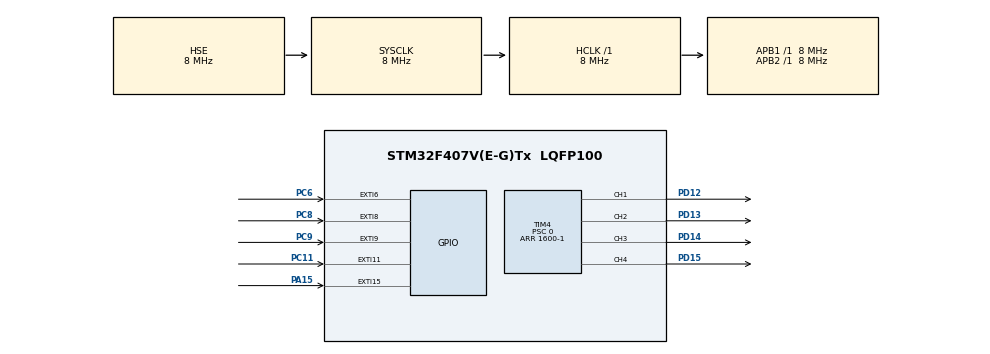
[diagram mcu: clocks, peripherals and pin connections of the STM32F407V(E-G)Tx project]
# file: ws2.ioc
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Mcu.Family=STM32F4
Mcu.Name=STM32F407V(E-G)Tx
Mcu.Package=LQFP100
NVIC.EXTI15_10_IRQn=true\:0\:0\:false\:false\:true\:true\:true\:true
NVIC.EXTI9_5_IRQn=true\:0\:0\:false\:false\:true\:true\:true\:true
NVIC.PriorityGroup=NVIC_PRIORITYGROUP_4
PA15.Signal=GPXTI15
PC11.Signal=GPXTI11
PC6.Signal=GPXTI6
PC8.Signal=GPXTI8
PC9.Signal=GPXTI9
PD12.GPIO_Speed=GPIO_SPEED_FREQ_VERY_HIGH
PD12.Signal=S_TIM4_CH1
PD13.Signal=S_TIM4_CH2
PD14.Signal=S_TIM4_CH3
PD15.Signal=S_TIM4_CH4
PH0-OSC_IN.Mode=HSE-External-Oscillator
PH0-OSC_IN.Signal=RCC_OSC_IN
PH1-OSC_OUT.Mode=HSE-External-Oscillator
PH1-OSC_OUT.Signal=RCC_OSC_OUT
ProjectManager.HeapSize=0x200
ProjectManager.StackSize=0x400
ProjectManager.TargetToolchain=STM32CubeIDE
RCC.48MHZClocksFreq_Value=25000000
RCC.AHBFreq_Value=8000000
RCC.APB1Freq_Value=8000000
RCC.APB1TimFreq_Value=8000000
RCC.APB2Freq_Value=8000000
RCC.APB2TimFreq_Value=8000000
RCC.CortexFreq_Value=8000000
RCC.HCLKFreq_Value=8000000
RCC.HSE_VALUE=8000000
RCC.HSI_VALUE=16000000
RCC.LSE_VALUE=32768
RCC.PLLM=4
RCC.PLLN=50
RCC.PLLP=RCC_PLLP_DIV4
RCC.PLLSourceVirtual=RCC_PLLSOURCE_HSE
RCC.SYSCLKFreq_VALUE=8000000
RCC.SYSCLKSource=RCC_SYSCLKSOURCE_HSE
RCC.VCOOutputFreq_Value=100000000
SH.S_TIM4_CH1.0=TIM4_CH1,PWM Generation1 CH1
SH.S_TIM4_CH2.0=TIM4_CH2,PWM Generation2 CH2
SH.S_TIM4_CH3.0=TIM4_CH3,PWM Generation3 CH3
SH.S_TIM4_CH4.0=TIM4_CH4,PWM Generation4 CH4
TIM4.AutoReloadPreload=TIM_AUTORELOAD_PRELOAD_ENABLE
TIM4.Channel-PWM\ Generation1\ CH1=TIM_CHANNEL_1
TIM4.Channel-PWM\ Generation2\ CH2=TIM_CHANNEL_2
TIM4.Channel-PWM\ Generation3\ CH3=TIM_CHANNEL_3
TIM4.Channel-PWM\ Generation4\ CH4=TIM_CHANNEL_4
TIM4.OC1Preload_PWM=DISABLE
TIM4.OCFastMode_PWM-PWM\ Generation1\ CH1=TIM_OCFAST_DISABLE
TIM4.Period=1600-1
TIM4.Prescaler=0
TIM4.Pulse-PWM\ Generation1\ CH1=800
TIM4.Pulse-PWM\ Generation2\ CH2=0
TIM4.Pulse-PWM\ Generation3\ CH3=0
TIM4.Pulse-PWM\ Generation4\ CH4=0
VP_TIM4_VS_ClockSourceINT.Mode=Internal
board=custom

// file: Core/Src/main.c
/* USER CODE BEGIN Header */
/**
  ******************************************************************************
  * @file           : main.c
  * @brief          : Main program body
  ******************************************************************************
  * @attention
  *
  * Copyright (c) 2023 STMicroelectronics.
  * All rights reserved.
  *
  * This software is licensed under terms that can be found in the LICENSE file
  * in the root directory of this software component.
  * If no LICENSE file comes with this software, it is provided AS-IS.
  *
  ******************************************************************************
  */
/* USER CODE END Header */
#include "main.h"

TIM_HandleTypeDef htim4;

void SystemClock_Config(void);
static void MX_GPIO_Init(void);
static void MX_TIM4_Init(void);

/* USER CODE BEGIN 0 */

static uint32_t curr_freq = 5000;
static uint8_t curr_duty_percent = 50;
static enum PWM_Mode mode = OUTPUT_GREEN;

/* USER CODE END 0 */

int main(void)
{

  /* MCU Configuration--------------------------------------------------------*/

  /* Reset of all peripherals, Initializes the Flash interface and the Systick. */
  HAL_Init();

  /* Configure the system clock */
  SystemClock_Config();

  /* Initialize all configured peripherals */
  MX_GPIO_Init();
  MX_TIM4_Init();
  /* USER CODE BEGIN 2 */

  HAL_TIM_PWM_Start(&htim4, TIM_CHANNEL_1);
  HAL_TIM_PWM_Start(&htim4, TIM_CHANNEL_2);
  HAL_TIM_PWM_Start(&htim4, TIM_CHANNEL_3);
  HAL_TIM_PWM_Start(&htim4, TIM_CHANNEL_4);

  /* USER CODE END 2 */

  /* Infinite loop */
  while (1)
  {

  }
}

void SystemClock_Config(void)
{
  RCC_OscInitTypeDef RCC_OscInitStruct = {0};
  RCC_ClkInitTypeDef RCC_ClkInitStruct = {0};

  /** Configure the main internal regulator output voltage
  */
  __HAL_RCC_PWR_CLK_ENABLE();
  __HAL_PWR_VOLTAGESCALING_CONFIG(PWR_REGULATOR_VOLTAGE_SCALE1);

  /** Initializes the RCC Oscillators according to the specified parameters
  * in the RCC_OscInitTypeDef structure.
  */
  RCC_OscInitStruct.OscillatorType = RCC_OSCILLATORTYPE_HSE;
  RCC_OscInitStruct.HSEState = RCC_HSE_ON;
  RCC_OscInitStruct.PLL.PLLState = RCC_PLL_NONE;
  if (HAL_RCC_OscConfig(&RCC_OscInitStruct) != HAL_OK)
  {
    Error_Handler();
  }

  /** Initializes the CPU, AHB and APB buses clocks
  */
  RCC_ClkInitStruct.ClockType = RCC_CLOCKTYPE_HCLK|RCC_CLOCKTYPE_SYSCLK
                              |RCC_CLOCKTYPE_PCLK1|RCC_CLOCKTYPE_PCLK2;
  RCC_ClkInitStruct.SYSCLKSource = RCC_SYSCLKSOURCE_HSE;
  RCC_ClkInitStruct.AHBCLKDivider = RCC_SYSCLK_DIV1;
  RCC_ClkInitStruct.APB1CLKDivider = RCC_HCLK_DIV1;
  RCC_ClkInitStruct.APB2CLKDivider = RCC_HCLK_DIV1;

  if (HAL_RCC_ClockConfig(&RCC_ClkInitStruct, FLASH_LATENCY_0) != HAL_OK)
  {
    Error_Handler();
  }
}

static void MX_TIM4_Init(void)
{

  TIM_ClockConfigTypeDef sClockSourceConfig = {0};
  TIM_MasterConfigTypeDef sMasterConfig = {0};
  TIM_OC_InitTypeDef sConfigOC = {0};

  htim4.Instance = TIM4;
  htim4.Init.Prescaler = 0;
  htim4.Init.CounterMode = TIM_COUNTERMODE_UP;
  htim4.Init.Period = 1600-1;
  htim4.Init.ClockDivision = TIM_CLOCKDIVISION_DIV1;
  htim4.Init.AutoReloadPreload = TIM_AUTORELOAD_PRELOAD_ENABLE;
  if (HAL_TIM_Base_Init(&htim4) != HAL_OK)
  {
    Error_Handler();
  }
  sClockSourceConfig.ClockSource = TIM_CLOCKSOURCE_INTERNAL;
  if (HAL_TIM_ConfigClockSource(&htim4, &sClockSourceConfig) != HAL_OK)
  {
    Error_Handler();
  }
  if (HAL_TIM_PWM_Init(&htim4) != HAL_OK)
  {
    Error_Handler();
  }
  sMasterConfig.MasterOutputTrigger = TIM_TRGO_RESET;
  sMasterConfig.MasterSlaveMode = TIM_MASTERSLAVEMODE_DISABLE;
  if (HAL_TIMEx_MasterConfigSynchronization(&htim4, &sMasterConfig) != HAL_OK)
  {
    Error_Handler();
  }
  sConfigOC.OCMode = TIM_OCMODE_PWM1;
  sConfigOC.Pulse = 800;
  sConfigOC.OCPolarity = TIM_OCPOLARITY_HIGH;
  sConfigOC.OCFastMode = TIM_OCFAST_DISABLE;
  if (HAL_TIM_PWM_ConfigChannel(&htim4, &sConfigOC, TIM_CHANNEL_1) != HAL_OK)
  {
    Error_Handler();
  }
  __HAL_TIM_DISABLE_OCxPRELOAD(&htim4, TIM_CHANNEL_1);
  sConfigOC.Pulse = 0;
  if (HAL_TIM_PWM_ConfigChannel(&htim4, &sConfigOC, TIM_CHANNEL_2) != HAL_OK)
  {
    Error_Handler();
  }
  if (HAL_TIM_PWM_ConfigChannel(&htim4, &sConfigOC, TIM_CHANNEL_3) != HAL_OK)
  {
    Error_Handler();
  }
  if (HAL_TIM_PWM_ConfigChannel(&htim4, &sConfigOC, TIM_CHANNEL_4) != HAL_OK)
  {
    Error_Handler();
  }
  HAL_TIM_MspPostInit(&htim4);

}

static void MX_GPIO_Init(void)
{
  GPIO_InitTypeDef GPIO_InitStruct = {0};

  /* GPIO Ports Clock Enable */
  __HAL_RCC_GPIOH_CLK_ENABLE();
  __HAL_RCC_GPIOD_CLK_ENABLE();
  __HAL_RCC_GPIOC_CLK_ENABLE();
  __HAL_RCC_GPIOA_CLK_ENABLE();

  /*Configure GPIO pins : PC6 PC8 PC9 PC11 */
  GPIO_InitStruct.Pin = GPIO_PIN_6|GPIO_PIN_8|GPIO_PIN_9|GPIO_PIN_11;
  GPIO_InitStruct.Mode = GPIO_MODE_IT_RISING;
  GPIO_InitStruct.Pull = GPIO_NOPULL;
  HAL_GPIO_Init(GPIOC, &GPIO_InitStruct);

  /*Configure GPIO pin : PA15 */
  GPIO_InitStruct.Pin = GPIO_PIN_15;
  GPIO_InitStruct.Mode = GPIO_MODE_IT_RISING;
  GPIO_InitStruct.Pull = GPIO_NOPULL;
  HAL_GPIO_Init(GPIOA, &GPIO_InitStruct);

  /* EXTI interrupt init*/
  HAL_NVIC_SetPriority(EXTI9_5_IRQn, 0, 0);
  HAL_NVIC_EnableIRQ(EXTI9_5_IRQn);

  HAL_NVIC_SetPriority(EXTI15_10_IRQn, 0, 0);
  HAL_NVIC_EnableIRQ(EXTI15_10_IRQn);

}

/* USER CODE BEGIN 4 */
static void ClearPins(TIM_TypeDef * timer)
{
	timer->CCR1 = 0;
	timer->CCR2 = 0;
	timer->CCR3 = 0;
	timer->CCR4 = 0;
}

static void UpdateDutyCycle(TIM_TypeDef * timer)
{
	if(mode == OUTPUT_NONE)
		return;

	volatile uint32_t * ccreg = &(timer->CCR1);

	*(ccreg += mode) = CLOCK_FREQ/curr_freq * curr_duty_percent/100;
}

void HAL_GPIO_EXTI_Callback(uint16_t GPIO_Pin)
{
	switch(GPIO_Pin)
	{
		case SPEEDUP_PIN:
			if(curr_freq < MAX_OUT_FREQ)
				curr_freq += 5000;
				TIM4->ARR = (CLOCK_FREQ/curr_freq) - 1;
				UpdateDutyCycle(TIM4);
			break;

		case SLOWDOWN_PIN:
			if(curr_freq > PWM_FREQ_STEP)
				curr_freq -= 5000;
				TIM4->ARR = (CLOCK_FREQ/curr_freq) - 1;
				UpdateDutyCycle(TIM4);
			break;

		case DUTYCYCLE_ADD_PIN:
			if(curr_duty_percent < 100)
			{
				curr_duty_percent += 5;
				UpdateDutyCycle(TIM4);
			}
			break;

		case DUTYCYCLE_SUB_PIN:
			if(curr_duty_percent > 0)
			{
				curr_duty_percent -= 5;
				UpdateDutyCycle(TIM4);
			}
			break;

		case MODE_SWITCH_PIN:

			mode = ++mode % 5;
			ClearPins(TIM4);
			UpdateDutyCycle(TIM4);
			break;
	}
}
/* USER CODE END 4 */

void Error_Handler(void)
{
  __disable_irq();
  while (1)
  {
  }
}
